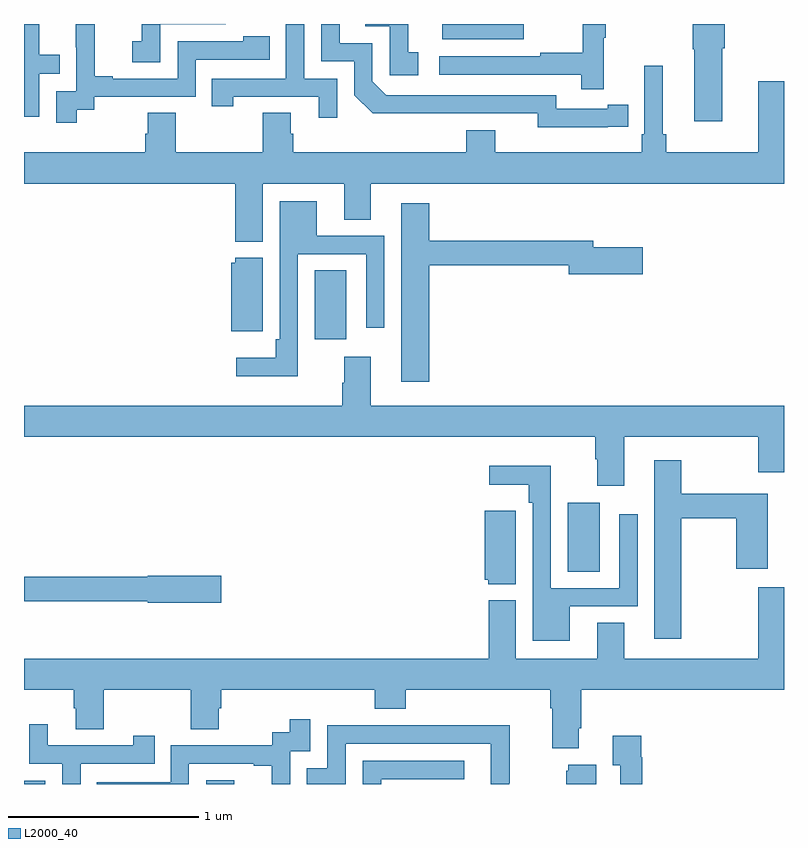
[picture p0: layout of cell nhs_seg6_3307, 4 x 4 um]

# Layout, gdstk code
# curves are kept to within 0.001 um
import gdstk
lib = gdstk.Library(unit=1e-6, precision=1e-09)
def R(c, l, rs):  # rectangles x0, y0, x1, y1
    for r in rs: c.add(gdstk.rectangle(r[:2], r[2:], *l))
def P(c, l, *ps):  # polygons
    for p in ps: c.add(gdstk.Polygon(p, *l))
L2000_40 = (2000, 40)

nhs_seg6_3307 = lib.new_cell('nhs_seg6_3307')
R(nhs_seg6_3307, L2000_40, [(305,953.5,305.112,953.517), (305.958,953.5,306.106,953.521), (307.862,954.616,308.029,954.979), (306.53,955.842,306.697,956.204), (307.202,957.419,307.63,957.5)])
P(nhs_seg6_3307, L2000_40, [(308.072,956.958),(308.18,956.958),(308.18,957.074),(308.072,957.074),(308.072,957.054),(307.8,957.054),(307.8,957.126),(306.906,957.126),(306.834,957.198),(306.834,957.399),(306.661,957.399),(306.661,957.5),(306.564,957.5),(306.564,957.303),(306.738,957.303),(306.738,957.126),(306.836,957.029),(307.704,957.03),(307.704,956.957)],
  [(308.051,957.427),(308.062,957.427),(308.062,957.5),(307.941,957.5),(307.941,957.35),(307.717,957.35),(307.717,957.33),(307.185,957.33),(307.185,957.234),(307.933,957.234),(307.933,957.156),(308.051,957.156)],
  [(308.674,957.373),(308.687,957.373),(308.687,957.5),(308.521,957.5),(308.521,957.367),(308.528,957.367),(308.528,956.988),(308.674,956.988)],
  [(305.718,957.498),(306.06,957.498),(306.062,957.5),(305.62,957.5),(305.62,957.409),(305.571,957.409),(305.571,957.3),(305.718,957.3)],
  [(306.648,957.213),(306.474,957.213),(306.474,957.5),(306.378,957.5),(306.378,957.213),(305.989,957.213),(305.989,957.066),(306.1,957.066),(306.1,957.117),(306.551,957.117),(306.551,957.006),(306.648,957.006)],
  [(305.278,957.049),(305.37,957.049),(305.37,957.117),(305.904,957.117),(305.904,957.312),(306.293,957.312),(306.293,957.435),(306.153,957.435),(306.153,957.408),(305.808,957.408),(305.808,957.213),(305.467,957.213),(305.467,957.226),(305.372,957.226),(305.372,957.5),(305.273,957.5),(305.273,957.377),(305.274,957.377),(305.274,957.147),(305.169,957.147),(305.169,956.979),(305.278,956.979)],
  [(305.079,957.237),(305.189,957.237),(305.189,957.338),(305.079,957.338),(305.079,957.5),(305,957.5),(305,957.012),(305.079,957.012)],
  [(307.075,957.351),(307.022,957.351),(307.022,957.5),(306.795,957.5),(306.795,957.489),(306.924,957.489),(306.924,957.231),(307.075,957.231)],
  [(306.256,956.66),(306.686,956.66),(306.686,956.47),(306.826,956.47),(306.826,956.66),(309,956.66),(309,957.199),(308.864,957.199),(308.864,956.824),(308.381,956.824),(308.381,956.92),(308.362,956.92),(308.362,957.28),(308.265,957.28),(308.265,956.92),(308.252,956.92),(308.252,956.824),(307.48,956.824),(307.48,956.941),(307.328,956.941),(307.328,956.824),(306.416,956.824),(306.416,956.922),(306.403,956.922),(306.403,957.032),(306.256,957.032),(306.256,956.824),(305.799,956.824),(305.799,957.032),(305.651,957.032),(305.651,956.922),(305.639,956.922),(305.639,956.824),(305,956.824),(305,956.66),(306.113,956.66),(306.113,956.354),(306.256,956.354)],
  [(306.441,956.289),(306.801,956.289),(306.801,955.902),(306.897,955.902),(306.897,956.385),(306.541,956.385),(306.541,956.566),(306.345,956.566),(306.345,955.84),(306.325,955.84),(306.325,955.744),(306.117,955.744),(306.117,955.646),(306.441,955.646)],
  [(307.133,956.23),(307.868,956.23),(307.868,956.183),(308.257,956.183),(308.257,956.325),(307.996,956.325),(307.996,956.359),(307.133,956.359),(307.133,956.557),(306.986,956.557),(306.986,955.617),(307.133,955.617)],
  [(306.256,956.269),(306.111,956.269),(306.111,956.244),(306.092,956.244),(306.092,955.883),(306.256,955.883)],
  [(308.158,955.328),(308.864,955.328),(308.864,955.14),(309,955.14),(309,955.492),(306.826,955.492),(306.826,955.75),(306.686,955.75),(306.686,955.613),(306.674,955.613),(306.674,955.492),(305,955.492),(305,955.328),(308.006,955.328),(308.006,955.208),(308.018,955.208),(308.018,955.071),(308.158,955.071)],
  [(308.46,954.898),(308.749,954.898),(308.749,954.633),(308.914,954.633),(308.914,955.027),(308.46,955.027),(308.46,955.204),(308.318,955.204),(308.318,954.264),(308.46,954.264)],
  [(307.873,954.435),(308.229,954.435),(308.229,954.919),(308.133,954.919),(308.133,954.531),(307.773,954.531),(307.773,955.174),(307.449,955.174),(307.449,955.076),(307.657,955.076),(307.657,954.98),(307.677,954.98),(307.677,954.254),(307.873,954.254)],
  [(307.588,954.937),(307.424,954.937),(307.424,954.576),(307.443,954.576),(307.443,954.551),(307.588,954.551)],
  [(306.037,954.596),(305.652,954.596),(305.652,954.59),(305,954.59),(305,954.462),(305.652,954.462),(305.652,954.454),(306.037,954.454)],
  [(307.921,953.794),(307.934,953.794),(307.934,953.996),(309,953.996),(309,954.535),(308.864,954.535),(308.864,954.16),(308.158,954.16),(308.158,954.35),(308.018,954.35),(308.018,954.16),(307.588,954.16),(307.588,954.466),(307.445,954.466),(307.445,954.16),(305,954.16),(305,953.996),(305.261,953.996),(305.261,953.898),(305.273,953.898),(305.273,953.788),(305.421,953.788),(305.421,953.996),(305.878,953.996),(305.878,953.788),(306.025,953.788),(306.025,953.898),(306.038,953.898),(306.038,953.996),(306.845,953.996),(306.845,953.897),(307.01,953.897),(307.01,953.996),(307.769,953.996),(307.769,953.9),(307.781,953.9),(307.781,953.687),(307.921,953.687)],
  [(305.868,953.607),(306.209,953.607),(306.209,953.595),(306.305,953.595),(306.305,953.5),(306.402,953.5),(306.402,953.673),(306.507,953.673),(306.507,953.842),(306.399,953.842),(306.399,953.772),(306.306,953.772),(306.306,953.703),(305.772,953.703),(305.772,953.508),(305.383,953.508),(305.383,953.5),(305.868,953.5)],
  [(305.298,953.607),(305.687,953.607),(305.687,953.755),(305.576,953.755),(305.576,953.703),(305.125,953.703),(305.125,953.815),(305.028,953.815),(305.028,953.607),(305.202,953.607),(305.202,953.5),(305.298,953.5)],
  [(306.693,953.712),(307.457,953.712),(307.457,953.5),(307.554,953.5),(307.554,953.503),(307.557,953.503),(307.557,953.81),(307.093,953.81),(307.093,953.808),(306.597,953.808),(306.597,953.583),(306.487,953.583),(306.487,953.5),(306.693,953.5)],
  [(308.255,953.642),(308.248,953.642),(308.248,953.755),(308.099,953.755),(308.099,953.599),(308.139,953.599),(308.139,953.5),(308.255,953.5)],
  [(306.879,953.526),(307.318,953.526),(307.318,953.622),(306.783,953.622),(306.783,953.5),(306.879,953.5)],
  [(308.011,953.602),(307.865,953.602),(307.865,953.571),(307.853,953.571),(307.853,953.5),(308.011,953.5)])

lib.write_gds('nhs_seg6_3307.gds')
